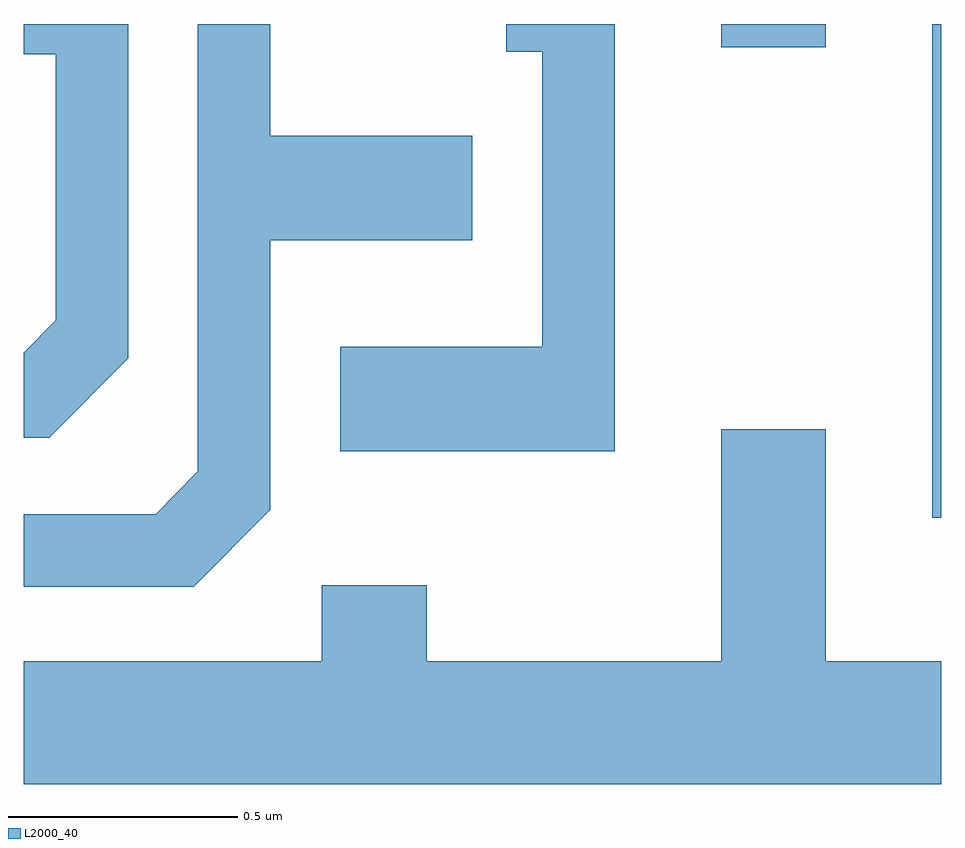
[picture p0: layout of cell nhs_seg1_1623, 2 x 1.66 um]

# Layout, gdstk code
import gdstk
lib = gdstk.Library(unit=1e-6, precision=1e-09)
def R(c, l, rs):  # rectangles x0, y0, x1, y1
    for r in rs: c.add(gdstk.rectangle(r[:2], r[2:], *l))
def P(c, l, *ps):  # polygons
    for p in ps: c.add(gdstk.Polygon(p, *l))
L2000_40 = (2000, 40)

nhs_seg1_1623 = lib.new_cell('nhs_seg1_1623')
R(nhs_seg1_1623, L2000_40, [(198.591,975.636,198.611,976.712), (198.131,976.661,198.359,976.712)])
P(nhs_seg1_1623, L2000_40, [(197.149,975.654),(197.149,976.241),(197.589,976.241),(197.589,976.469),(197.149,976.469),(197.149,976.712),(196.991,976.712),(196.991,975.737),(196.899,975.644),(196.611,975.644),(196.611,975.486),(196.982,975.486)],
  [(197.899,976.712),(197.663,976.712),(197.663,976.651),(197.741,976.651),(197.741,976.009),(197.301,976.009),(197.301,975.781),(197.899,975.781)],
  [(196.839,975.984),(196.839,976.712),(196.611,976.712),(196.611,976.646),(196.681,976.646),(196.681,976.067),(196.611,975.996),(196.611,975.811),(196.667,975.811)],
  [(198.611,975.324),(198.359,975.324),(198.359,975.829),(198.131,975.829),(198.131,975.324),(197.489,975.324),(197.489,975.489),(197.261,975.489),(197.261,975.324),(196.611,975.324),(196.611,975.056),(198.611,975.056)])

lib.write_gds('nhs_seg1_1623.gds')
